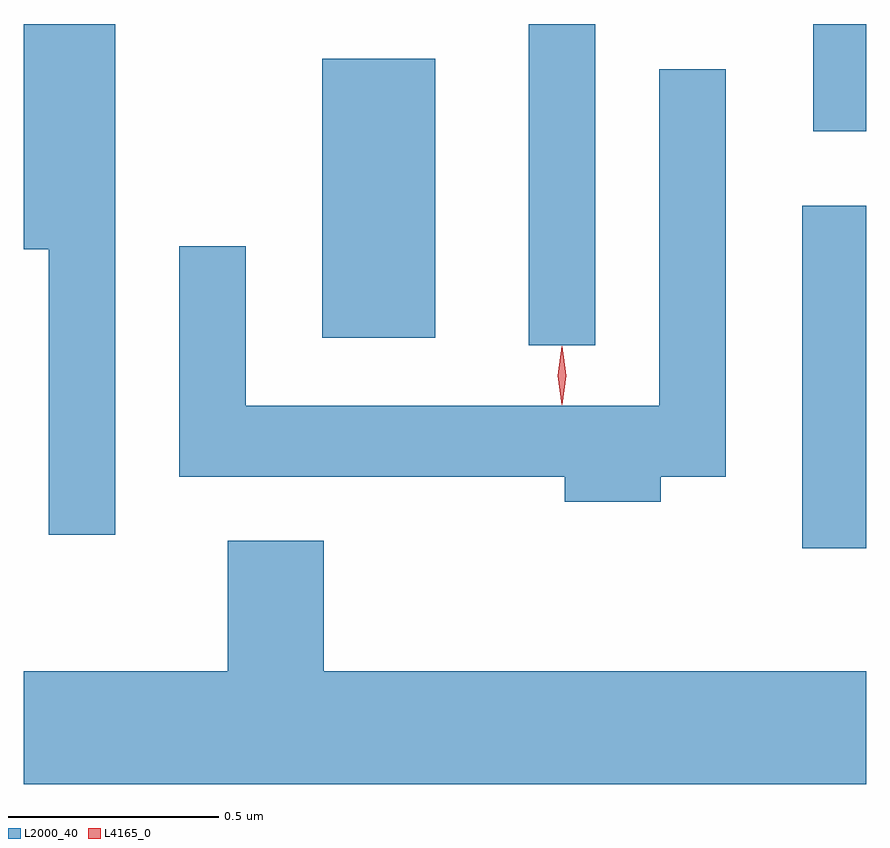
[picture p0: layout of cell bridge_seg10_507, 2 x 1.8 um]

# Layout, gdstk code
import gdstk
lib = gdstk.Library(unit=1e-6, precision=1e-09)
def R(c, l, rs):  # rectangles x0, y0, x1, y1
    for r in rs: c.add(gdstk.rectangle(r[:2], r[2:], *l))
def P(c, l, *ps):  # polygons
    for p in ps: c.add(gdstk.Polygon(p, *l))
L2000_40 = (2000, 40)
L4165_0 = (4165, 0)

bridge_seg10_507 = lib.new_cell('bridge_seg10_507')
R(bridge_seg10_507, L2000_40, [(886.106,2174.416,886.257,2175.229), (885.456,2174.898,885.614,2175.661), (884.966,2174.916,885.234,2175.579), (886.131,2175.406,886.257,2175.661)])
P(bridge_seg10_507, L2000_40, [(884.474,2175.661),(884.257,2175.661),(884.257,2175.126),(884.316,2175.126),(884.316,2174.448),(884.474,2174.448)],
  [(885.769,2174.586),(885.924,2174.586),(885.924,2175.553),(885.766,2175.553),(885.766,2174.754),(884.784,2174.754),(884.784,2175.133),(884.626,2175.133),(884.626,2174.586),(885.541,2174.586),(885.541,2174.526),(885.769,2174.526)],
  [(886.257,2174.124),(884.969,2174.124),(884.969,2174.434),(884.741,2174.434),(884.741,2174.124),(884.257,2174.124),(884.257,2173.856),(886.257,2173.856)])
P(bridge_seg10_507, L4165_0, [(885.534,2174.757),(885.525,2174.826),(885.534,2174.896),(885.535,2174.896),(885.536,2174.896),(885.545,2174.826),(885.536,2174.757),(885.535,2174.757)],
  [(885.535,2174.759),(885.534,2174.76),(885.525,2174.826),(885.534,2174.892),(885.535,2174.893),(885.535,2174.892),(885.545,2174.826),(885.535,2174.76)])

lib.write_gds('bridge_seg10_507.gds')
